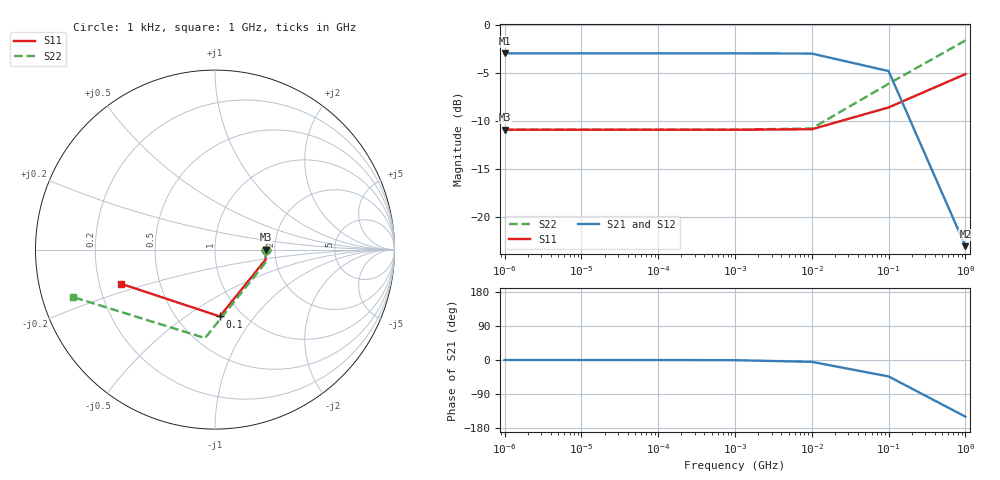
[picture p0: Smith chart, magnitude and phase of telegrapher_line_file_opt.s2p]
[Version] 2.0
# Hz S MA R 50
[Number of Ports] 2
[Two-Port Data Order] 12_21
[Reference] 50 50
!  Freq  magS11  angS11  magS12  angS12  magS21  angS21  magS22  angS22
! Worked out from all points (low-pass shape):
!   7 points, 1 kHz to 1 GHz, reference 50 ohm
!   highest |S21| = -2.92 dB at 1 kHz (marker M1); lowest = -23.0 dB at 1 GHz (marker M2)
!   |S21| within 3 dB of the highest: start of sweep to 156.8 MHz
!   lowest |S11| = -10.9 dB at 1 kHz (marker M3), VSWR 1.80, Z = 90 - j0.00109 ohm
!   |S11| at or under -10 dB: start of sweep to 43.05 MHz
!   |S22| runs from -10.9 to -1.6 dB; largest |S21 - S12| = 0
!   S11 on the Smith chart (normalised r, x): 1 kHz: 1.80, -0.00; 100 MHz: 0.79, -0.69; 1 GHz: 0.29, -0.16
[Number of Frequencies] 7
[Network Data]
1000  0.2857 -0.0  0.7143 -0.0  0.7143 -0.0  0.2857 -0.0
10000  0.2857 -0.0  0.7143 -0.0  0.7143 -0.0  0.2857 -0.0
100000  0.2857 -0.1  0.7143 -0.0  0.7143 -0.0  0.2857 -0.1
1000000  0.2857 -1.1  0.7143 -0.5  0.7143 -0.5  0.2858 -1.5
1e7  0.2872 -11.1  0.7124 -4.9  0.7124 -4.9  0.29 -14.7
1e8  0.3732 -85.9  0.5773 -43.4  0.5773 -43.4  0.4959 -96.4
1e9  0.5568 -160.0  0.07065 -149.4  0.07065 -149.4  0.8337 -161.5
[End]
